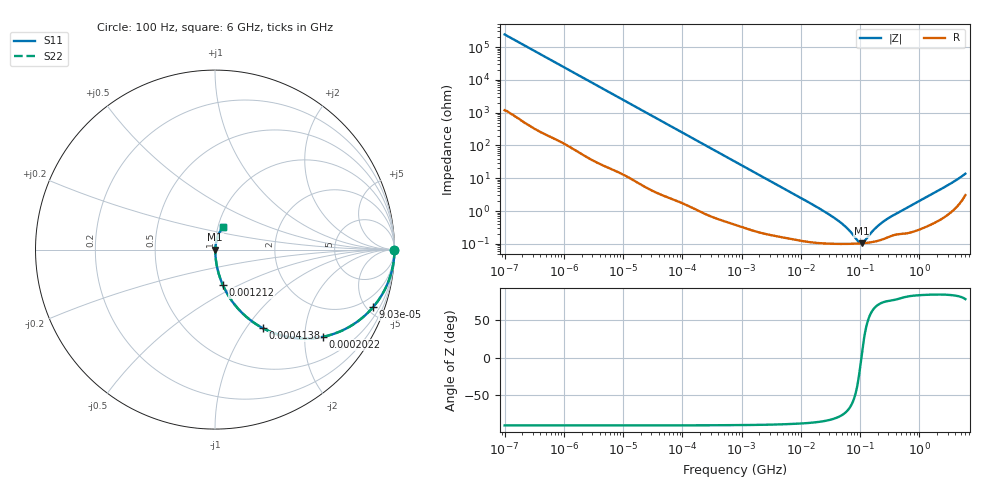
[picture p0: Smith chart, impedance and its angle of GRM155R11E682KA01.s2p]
!Murata Part Number: GRM155R11E682KA01
!These Parameters are Measured in Series Mode Connection
!Data Generated on Mar 30, 2021
!  o--ll--o
!Port1  Port2
!  o------o
!Operation Temp=25[degC], DC Bias Voltage=0[V]
!Freq. Start=100[Hz] Stop=6[GHz] 401[Steps]
# Hz S RI R 50
!Freq.(Hz) S11(Real) S11(Imag) S21(Real) S21(Imag) S12(Real) S12(Imag) S22(Real) S22(Imag)
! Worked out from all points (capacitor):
!   401 points, 100 Hz to 6 GHz, reference 50 ohm
!   read as one part in series: C = 6.56 nF near 109 Hz
!   lowest |Z| = 104 mohm at 106.7 MHz (marker M1)
!   series resonance near 105.4 MHz, so ESL is about 350 pH
!   S11 on the Smith chart (normalised r, x): 100 Hz: open; 90.3 kHz: 1.04, -5.48; 202.2 kHz: 1.02, -2.46; 413.8 kHz: 1.01, -1.20; 1.212 MHz: 1.01, -0.41; 6 GHz: 1.06, +0.27
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100  1 -0.000413  2.2e-06 0.000413  2.2e-06 0.000413  1 -0.000413
2008  0.9999 -0.00821  0.000104 0.00821  0.000104 0.00821  0.9999 -0.00821
12592  0.9971 -0.0511  0.00289 0.0511  0.00289 0.0511  0.9971 -0.0511
40335  0.9731 -0.159  0.0269 0.159  0.0269 0.159  0.9731 -0.159
90302  0.8808 -0.3206  0.1192 0.3206  0.1192 0.3206  0.8808 -0.3206
135116  0.7693 -0.4176  0.2307 0.4176  0.2307 0.4176  0.7693 -0.4176
202169  0.6007 -0.4859  0.3993 0.4859  0.3993 0.4859  0.6007 -0.4859
289253  0.4257 -0.4903  0.5743 0.4903  0.5743 0.4903  0.4257 -0.4903
413847  0.2678 -0.4382  0.7322 0.4382  0.7322 0.4382  0.2678 -0.4382
774597  0.0971 -0.2902  0.9029 0.2902  0.9029 0.2902  0.0971 -0.2902
1212075  0.0435 -0.1971  0.9565 0.1971  0.9565 0.1971  0.0435 -0.1971
3394479  0.00724 -0.0736  0.9928 0.0736  0.9928 0.0736  0.00724 -0.0736
1.555665e7  0.00136 -0.016  0.9986 0.016  0.9986 0.016  0.00136 -0.016
4.556224e7  0.00102 -0.00457  0.999 0.00457  0.999 0.00457  0.00102 -0.00457
6.518806e7  0.00101 -0.00242  0.999 0.00242  0.999 0.00242  0.00101 -0.00242
9.326766e7  0.00103 -0.000595  0.999 0.000595  0.999 0.000595  0.00103 -0.000595
1.066761e8  0.00104 5.88e-05  0.999 -5.88e-05  0.999 -5.88e-05  0.00104 5.88e-05
1.220122e8  0.00106 0.000713  0.9989 -0.000713  0.9989 -0.000713  0.00106 0.000713
1.909225e8  0.00122 0.00304  0.9988 -0.00304  0.9988 -0.00304  0.00122 0.00304
3.124326e8  0.00169 0.00613  0.9983 -0.00613  0.9983 -0.00613  0.00169 0.00613
1.95892e9  0.0062 0.0388  0.9938 -0.0388  0.9938 -0.0388  0.0062 0.0388
6e9  0.0462 0.1247  0.9538 -0.1247  0.9538 -0.1247  0.0462 0.1247
